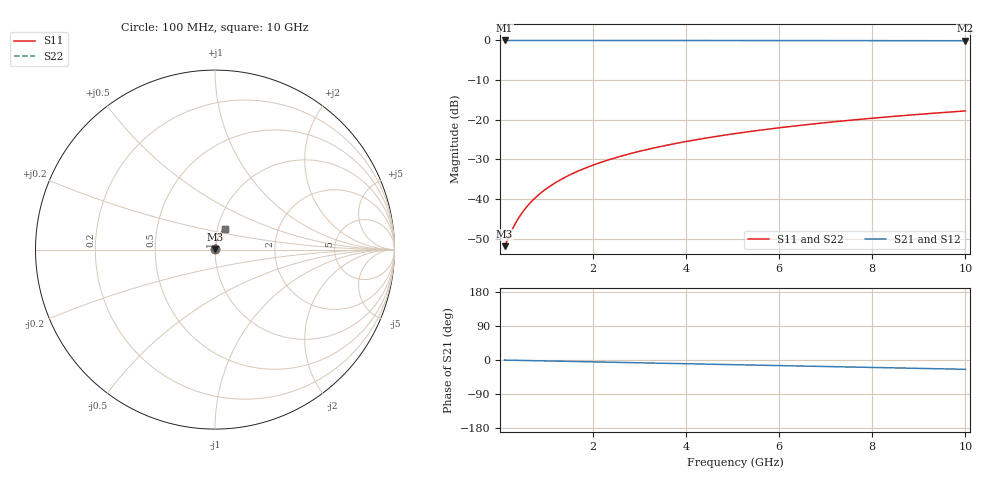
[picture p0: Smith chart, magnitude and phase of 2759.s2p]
# Hz S RI R 50.00
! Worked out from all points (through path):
!   100 points, 100 MHz to 10 GHz, reference 50 ohm
!   highest |S21| = -0.02 dB at 100 MHz (marker M1); lowest = -0.1 dB at 10 GHz (marker M2)
!   group delay of S21, straight-line fit = 6.82 ps
!   lowest |S11| = -51.9 dB at 100 MHz (marker M3), VSWR 1.01, Z = 50.2 + j0.133 ohm
!   |S11| at or under -10 dB: start of sweep to end of sweep
!   |S22| runs from -51.9 to -17.8 dB; largest |S21 - S12| = 0
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1e8  0.00216 0.00132  0.9978 -0.00428  0.9978 -0.00428  0.00216 0.00132
2e8  0.00219 0.00264  0.9978 -0.00856  0.9978 -0.00856  0.00219 0.00264
3e8  0.00223 0.00396  0.9977 -0.0128  0.9977 -0.0128  0.00223 0.00396
4e8  0.00228 0.00529  0.9976 -0.0171  0.9976 -0.0171  0.00228 0.00529
5e8  0.00233 0.00661  0.9975 -0.0214  0.9975 -0.0214  0.00233 0.00661
6e8  0.0024 0.00793  0.9974 -0.0257  0.9974 -0.0257  0.0024 0.00793
7e8  0.00248 0.00924  0.9973 -0.0299  0.9973 -0.0299  0.00248 0.00924
9e8  0.00267 0.0119  0.997 -0.0385  0.997 -0.0385  0.00267 0.0119
1e9  0.00278 0.0132  0.9968 -0.0428  0.9968 -0.0428  0.00278 0.0132
1.2e9  0.00303 0.0158  0.9963 -0.0513  0.9963 -0.0513  0.00303 0.0158
1.5e9  0.0035 0.0198  0.9955 -0.0641  0.9955 -0.0641  0.0035 0.0198
1.8e9  0.00407 0.0237  0.9945 -0.0769  0.9945 -0.0769  0.00407 0.0237
2.1e9  0.00473 0.0276  0.9933 -0.0897  0.9933 -0.0897  0.00473 0.0276
2.5e9  0.00578 0.0328  0.9914 -0.1067  0.9914 -0.1067  0.00578 0.0328
2.9e9  0.007 0.0379  0.9892 -0.1237  0.9892 -0.1237  0.007 0.0379
3.4e9  0.00877 0.0443  0.9861 -0.1448  0.9861 -0.1448  0.00877 0.0443
4.2e9  0.0122 0.0542  0.98 -0.1784  0.98 -0.1784  0.0122 0.0542
5.1e9  0.0168 0.0652  0.9716 -0.216  0.9716 -0.216  0.0168 0.0652
5.9e9  0.0216 0.0745  0.9629 -0.2489  0.9629 -0.2489  0.0216 0.0745
6.7e9  0.027 0.0836  0.953 -0.2815  0.953 -0.2815  0.027 0.0836
8.4e9  0.0405 0.1014  0.928 -0.3493  0.928 -0.3493  0.0405 0.1014
1e10  0.0555 0.1162  0.8997 -0.4109  0.8997 -0.4109  0.0555 0.1162
